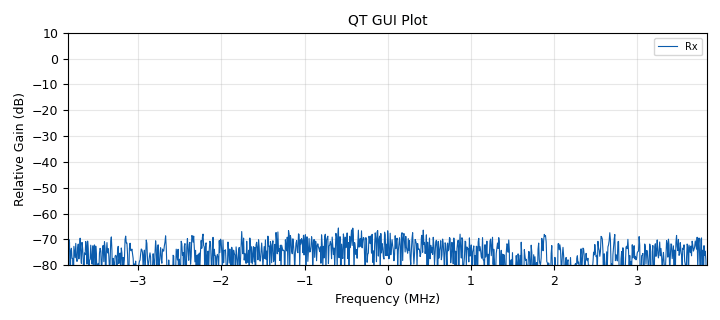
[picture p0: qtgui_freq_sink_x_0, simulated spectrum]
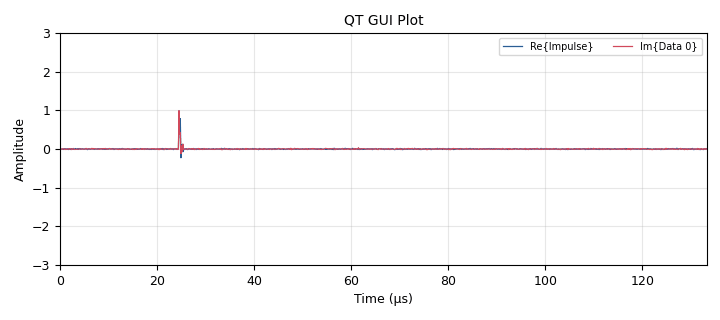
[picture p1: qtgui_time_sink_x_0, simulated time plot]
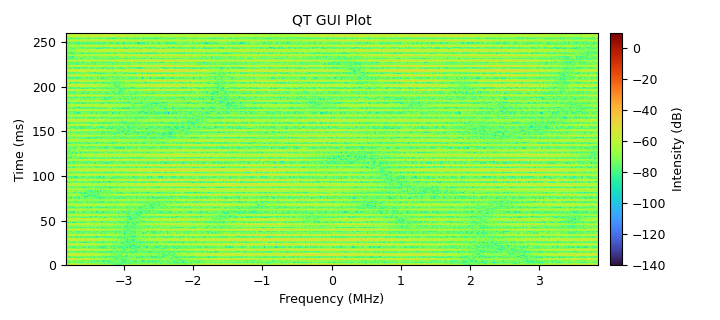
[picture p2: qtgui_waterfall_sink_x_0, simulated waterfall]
<?xml version='1.0' encoding='utf-8'?>
<?grc format='1' created='3.7.10'?>
<flow_graph>
<block>
<key>options</key>
<param><key>id</key><value>fastFadingChannel</value></param>
<param><key>author</key><value>Alexandros-Apostolos A. Boulogeorgos</value></param>
<param><key>description</key><value>Channel type: Rayleigh</value></param>
<param><key>generate_options</key><value>qt_gui</value></param>
<param><key>title</key><value>Fast Fading Channel</value></param>
</block>
<block>
<key>variable_qtgui_range</key>
<param><key>id</key><value>freq</value></param>
<param><key>value</key><value>0.0</value></param>
<param><key>gui_hint</key><value>2,1,1,1</value></param>
<param><key>label</key><value>Frequency Offset</value></param>
<param><key>orient</key><value>Qt.Horizontal</value></param>
<param><key>start</key><value>-1</value></param>
<param><key>step</key><value>0.01</value></param>
<param><key>stop</key><value>1</value></param>
</block>
<block>
<key>variable</key>
<param><key>id</key><value>model</value></param>
<param><key>value</key><value>2</value></param>
</block>
<block>
<key>variable_qtgui_range</key>
<param><key>id</key><value>noise</value></param>
<param><key>value</key><value>0.01</value></param>
<param><key>gui_hint</key><value>2,0,1,1</value></param>
<param><key>label</key><value>Noise Voltage</value></param>
<param><key>orient</key><value>Qt.Horizontal</value></param>
<param><key>start</key><value>0</value></param>
<param><key>step</key><value>0.01</value></param>
<param><key>stop</key><value>1</value></param>
</block>
<block>
<key>variable</key>
<param><key>id</key><value>pdp_mags</value></param>
<param><key>value</key><value>[pdp_mags_ca0, pdp_mags_umts_ped_a, pdp_mags_umts_ped_b][model]</value></param>
</block>
<block>
<key>variable</key>
<param><key>id</key><value>pdp_mags_ca0</value></param>
<param><key>value</key><value>[0.16529889, 0.46954084, 0.58274825, 0.24561255, 0.50459457, 0.69767633, 1.0, 0.77724474, 0.48675226, 0.46954084, 0.21267289, 0.19090106, 0.31600413, 0.45293801, 0.8057353, 0.64920938, 0.50459457, 0.1978987, 0.35204369, 0.54226525, 0.31600413, 0.15945397, 0.2204686, 0.35204369, 0.37832563, 0.37832563, 0.36494815, 0.2204686, 0.17763933, 0.45293801, 0.52309091, 0.52309091, 0.46954084, 0.35204369, 0.40656966, 0.25461568, 0.23692776, 0.32758753, 0.1978987, 0.21267289, 0.2204686, 0.19090106, 0.24561255, 0.17135806, 0.21267289, 0.16529889, 0.2204686, 0.30483032, 0.33959553, 0.18415085, 0.18415085, 0.22855006, 0.2940516, 0.19090106, 0.17135806, 0.18415085, 0.1978987, 0.17763933, 0.15945397, 0.26394884, 0.24561255, 0.21267289, 0.19090106, 0.17763933, 0.2204686, 0.21267289, 0.17135806, 0.17135806, 0.16529889]</value></param>
</block>
<block>
<key>variable</key>
<param><key>id</key><value>pdp_mags_umts_ped_a</value></param>
<param><key>value</key><value>[1, 0.3790830381, 0.1466069621, 0.1022842067]</value></param>
</block>
<block>
<key>variable</key>
<param><key>id</key><value>pdp_mags_umts_ped_b</value></param>
<param><key>value</key><value>[1, 0.9139311853, 0.6126263942, 0.4493289641, 0.4584060113, 0.0916296839]</value></param>
</block>
<block>
<key>variable</key>
<param><key>id</key><value>pdp_times</value></param>
<param><key>value</key><value>[pdp_times_ca0, pdp_times_umts_ped_a, pdp_times_umts_ped_b][model]</value></param>
</block>
<block>
<key>variable</key>
<param><key>id</key><value>pdp_times_ca0</value></param>
<param><key>value</key><value>[-0.25, -0.125, 0.0, 0.125, 0.25, 0.375, 0.5, 0.625, 0.75, 0.875, 1.0, 1.125, 1.25, 1.5, 1.625, 1.75, 1.875, 2.0, 2.125, 2.25, 2.375, 2.5, 2.75, 2.875, 3.0, 3.125, 3.25, 3.375, 3.5, 3.625, 3.75, 3.875, 4.0, 4.125, 4.25, 4.375, 4.5, 4.625, 4.75, 5.125, 5.25, 5.5, 5.625, 5.75, 6.0, 6.375, 6.5, 6.625, 6.75, 6.875, 7.25, 8.0, 8.125, 8.5, 8.625, 8.75, 8.875, 9.125, 9.25, 9.375, 9.5, 9.875, 10.0, 10.75, 10.875, 11.0, 11.125, 13.125, 13.25]</value></param>
</block>
<block>
<key>variable</key>
<param><key>id</key><value>pdp_times_umts_ped_a</value></param>
<param><key>value</key><value>[0, 0.8448, 1.4592, 3.1488]</value></param>
</block>
<block>
<key>variable</key>
<param><key>id</key><value>pdp_times_umts_ped_b</value></param>
<param><key>value</key><value>[0, 1.536, 6.144, 9.216, 17.664, 28.416]</value></param>
</block>
<block>
<key>variable</key>
<param><key>id</key><value>samp_rate</value></param>
<param><key>value</key><value>[samp_rate_ca0, samp_rate_umts_ped_a, samp_rate_umts_ped_b][model]</value></param>
</block>
<block>
<key>variable</key>
<param><key>id</key><value>samp_rate_ca0</value></param>
<param><key>value</key><value>4e9</value></param>
</block>
<block>
<key>variable</key>
<param><key>id</key><value>samp_rate_umts_ped_a</value></param>
<param><key>value</key><value>7.68e6</value></param>
</block>
<block>
<key>variable</key>
<param><key>id</key><value>samp_rate_umts_ped_b</value></param>
<param><key>value</key><value>7.68e6</value></param>
</block>
<block>
<key>variable_qtgui_range</key>
<param><key>id</key><value>timing</value></param>
<param><key>value</key><value>1.000</value></param>
<param><key>gui_hint</key><value>3,0,1,1</value></param>
<param><key>label</key><value>Timing Offset</value></param>
<param><key>orient</key><value>Qt.Horizontal</value></param>
<param><key>start</key><value>0.999</value></param>
<param><key>step</key><value>0.0001</value></param>
<param><key>stop</key><value>1.001</value></param>
</block>
<block>
<key>variable</key>
<param><key>id</key><value>trig</value></param>
<param><key>value</key><value>[trig_ca0, trig_umts_ped_a, trig_umts_ped_b][model]</value></param>
</block>
<block>
<key>variable</key>
<param><key>id</key><value>trig_ca0</value></param>
<param><key>value</key><value>2.8</value></param>
</block>
<block>
<key>variable</key>
<param><key>id</key><value>trig_del</value></param>
<param><key>value</key><value>[trig_del_ca0, trig_del_umts_ped_a, trig_del_umts_ped_b][model]</value></param>
</block>
<block>
<key>variable</key>
<param><key>id</key><value>trig_del_ca0</value></param>
<param><key>value</key><value>2e-9</value></param>
</block>
<block>
<key>variable</key>
<param><key>id</key><value>trig_del_umts_ped_a</value></param>
<param><key>value</key><value>0.000001</value></param>
</block>
<block>
<key>variable</key>
<param><key>id</key><value>trig_del_umts_ped_b</value></param>
<param><key>value</key><value>0.000001</value></param>
</block>
<block>
<key>variable</key>
<param><key>id</key><value>trig_umts_ped_a</value></param>
<param><key>value</key><value>0.5</value></param>
</block>
<block>
<key>variable</key>
<param><key>id</key><value>trig_umts_ped_b</value></param>
<param><key>value</key><value>1.5</value></param>
</block>
<block>
<key>blocks_complex_to_mag_squared</key>
<param><key>id</key><value>blocks_complex_to_mag_squared_0</value></param>
</block>
<block>
<key>blocks_throttle</key>
<param><key>id</key><value>blocks_throttle_0</value></param>
<param><key>samples_per_second</key><value>samp_rate</value></param>
<param><key>type</key><value>complex</value></param>
</block>
<block>
<key>blocks_vector_source_x</key>
<param><key>id</key><value>blocks_vector_source_x_0</value></param>
<param><key>type</key><value>complex</value></param>
<param><key>repeat</key><value>True</value></param>
<param><key>vector</key><value>511*[0,] + [1,] + 512*[0,]</value></param>
</block>
<block>
<key>channels_channel_model</key>
<param><key>id</key><value>channels_channel_model_0</value></param>
<param><key>epsilon</key><value>timing</value></param>
<param><key>freq_offset</key><value>freq</value></param>
<param><key>noise_voltage</key><value>noise</value></param>
<param><key>seed</key><value>0</value></param>
<param><key>taps</key><value>1.0</value></param>
</block>
<block>
<key>channels_selective_fading_model</key>
<param><key>id</key><value>channels_selective_fading_model_0</value></param>
<param><key>LOS</key><value>False</value></param>
<param><key>fDTs</key><value>10.0/samp_rate</value></param>
<param><key>N</key><value>8</value></param>
<param><key>ntaps</key><value>8</value></param>
<param><key>delays</key><value>pdp_times</value></param>
<param><key>mags</key><value>pdp_mags</value></param>
<param><key>seed</key><value>0</value></param>
</block>
<block>
<key>qtgui_freq_sink_x</key>
<param><key>id</key><value>qtgui_freq_sink_x_0</value></param>
<param><key>bw</key><value>samp_rate</value></param>
<param><key>fc</key><value>0</value></param>
<param><key>fftsize</key><value>1024</value></param>
<param><key>gui_hint</key><value>0,0,1,1</value></param>
<param><key>label1</key><value>Rx</value></param>
<param><key>width1</key><value>2</value></param>
<param><key>name</key><value>QT GUI Plot</value></param>
<param><key>showports</key><value>True</value></param>
<param><key>type</key><value>complex</value></param>
<param><key>wintype</key><value>firdes.WIN_BLACKMAN_hARRIS</value></param>
<param><key>ymin</key><value>-80</value></param>
</block>
<block>
<key>qtgui_time_sink_x</key>
<param><key>id</key><value>qtgui_time_sink_x_0</value></param>
<param><key>gui_hint</key><value>1,0,1,1</value></param>
<param><key>color1</key><value>"blue"</value></param>
<param><key>label1</key><value>Re{Impulse}</value></param>
<param><key>width1</key><value>2</value></param>
<param><key>color2</key><value>"red"</value></param>
<param><key>label2</key><value></value></param>
<param><key>name</key><value>QT GUI Plot</value></param>
<param><key>size</key><value>1024</value></param>
<param><key>srate</key><value>samp_rate</value></param>
<param><key>type</key><value>complex</value></param>
<param><key>ymax</key><value>3</value></param>
<param><key>ymin</key><value>-3</value></param>
</block>
<block>
<key>qtgui_time_sink_x</key>
<param><key>id</key><value>qtgui_time_sink_x_0_0</value></param>
<param><key>autoscale</key><value>True</value></param>
<param><key>gui_hint</key><value>1,1,1,1</value></param>
<param><key>alpha1</key><value>0.75</value></param>
<param><key>color1</key><value>"blue"</value></param>
<param><key>label1</key><value>PDP</value></param>
<param><key>marker1</key><value>0</value></param>
<param><key>style1</key><value>2</value></param>
<param><key>width1</key><value>2</value></param>
<param><key>name</key><value>QT GUI Plot</value></param>
<param><key>size</key><value>30</value></param>
<param><key>srate</key><value>samp_rate</value></param>
<param><key>tr_delay</key><value>trig_del</value></param>
<param><key>tr_level</key><value>trig</value></param>
<param><key>tr_mode</key><value>qtgui.TRIG_MODE_NORM</value></param>
<param><key>type</key><value>float</value></param>
</block>
<block>
<key>qtgui_waterfall_sink_x</key>
<param><key>id</key><value>qtgui_waterfall_sink_x_0</value></param>
<param><key>bw</key><value>samp_rate</value></param>
<param><key>fc</key><value>0</value></param>
<param><key>fftsize</key><value>1024</value></param>
<param><key>gui_hint</key><value>0,1,1,1</value></param>
<param><key>label1</key><value>Rx</value></param>
<param><key>name</key><value>QT GUI Plot</value></param>
<param><key>showports</key><value>True</value></param>
<param><key>type</key><value>complex</value></param>
<param><key>wintype</key><value>firdes.WIN_BLACKMAN_hARRIS</value></param>
</block>
<connection><source_block_id>blocks_complex_to_mag_squared_0</source_block_id><sink_block_id>qtgui_time_sink_x_0_0</sink_block_id><source_key>0</source_key><sink_key>0</sink_key></connection>
<connection><source_block_id>blocks_throttle_0</source_block_id><sink_block_id>channels_selective_fading_model_0</sink_block_id><source_key>0</source_key><sink_key>0</sink_key></connection>
<connection><source_block_id>blocks_vector_source_x_0</source_block_id><sink_block_id>blocks_throttle_0</sink_block_id><source_key>0</source_key><sink_key>0</sink_key></connection>
<connection><source_block_id>channels_channel_model_0</source_block_id><sink_block_id>blocks_complex_to_mag_squared_0</sink_block_id><source_key>0</source_key><sink_key>0</sink_key></connection>
<connection><source_block_id>channels_channel_model_0</source_block_id><sink_block_id>qtgui_freq_sink_x_0</sink_block_id><source_key>0</source_key><sink_key>0</sink_key></connection>
<connection><source_block_id>channels_channel_model_0</source_block_id><sink_block_id>qtgui_time_sink_x_0</sink_block_id><source_key>0</source_key><sink_key>0</sink_key></connection>
<connection><source_block_id>channels_channel_model_0</source_block_id><sink_block_id>qtgui_waterfall_sink_x_0</sink_block_id><source_key>0</source_key><sink_key>0</sink_key></connection>
<connection><source_block_id>channels_selective_fading_model_0</source_block_id><sink_block_id>channels_channel_model_0</sink_block_id><source_key>0</source_key><sink_key>0</sink_key></connection>
</flow_graph>
